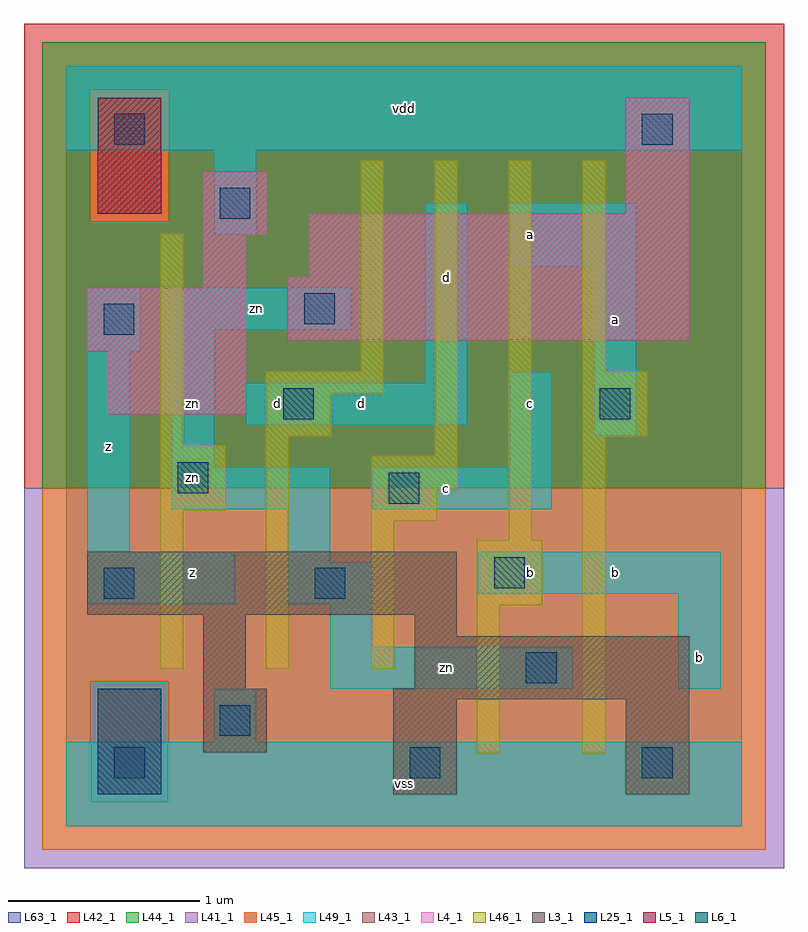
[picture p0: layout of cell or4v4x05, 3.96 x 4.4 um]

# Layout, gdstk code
import gdstk
lib = gdstk.Library(unit=1e-6, precision=1e-09)
def R(c, l, rs):  # rectangles x0, y0, x1, y1
    for r in rs: c.add(gdstk.rectangle(r[:2], r[2:], *l))
L3_1 = (3, 1)
L4_1 = (4, 1)
L5_1 = (5, 1)
L6_1 = (6, 1)
L25_1 = (25, 1)
L41_1 = (41, 1)
L42_1 = (42, 1)
L43_1 = (43, 1)
L44_1 = (44, 1)
L45_1 = (45, 1)
L46_1 = (46, 1)
L49_1 = (49, 1)
L63_1 = (63, 1)

or4v4x05 = lib.new_cell('or4v4x05')
R(or4v4x05, L3_1, [(1.705,0.165,2.035,0.66), (2.915,0.165,3.245,0.66), (0.715,0.385,1.045,0.715), (1.705,0.66,3.245,0.715), (0.715,0.715,0.935,1.1), (1.815,0.715,3.245,0.99), (1.815,0.99,2.035,1.1), (0.11,1.1,2.035,1.43)])
R(or4v4x05, L4_1, [(0.22,2.145,0.935,2.475), (0.11,2.475,0.935,2.805), (1.155,2.53,3.245,2.86), (0.715,2.805,0.935,3.08), (1.265,2.86,3.245,3.19), (0.715,3.08,1.045,3.41), (2.915,3.19,3.245,3.795)])
R(or4v4x05, L5_1, [(0.165,3.19,0.495,3.795)])
R(or4v4x05, L6_1, [(0.165,0.165,0.495,0.715)])
R(or4v4x05, L25_1, [(0.25,0.25,0.41,0.41), (1.79,0.25,1.95,0.41), (3,0.25,3.16,0.41), (0.8,0.47,0.96,0.63), (2.395,0.745,2.555,0.905), (0.195,1.185,0.355,1.345), (1.295,1.185,1.455,1.345), (2.23,1.24,2.39,1.4), (1.68,1.68,1.84,1.84), (0.58,1.735,0.74,1.895), (1.13,2.12,1.29,2.28), (2.78,2.12,2.94,2.28), (0.195,2.56,0.355,2.72), (1.24,2.615,1.4,2.775), (0.8,3.165,0.96,3.325), (0.25,3.55,0.41,3.71), (3,3.55,3.16,3.71)])
R(or4v4x05, L41_1, [(-0.22,-0.22,3.74,1.76)])
R(or4v4x05, L42_1, [(-0.22,1.76,3.74,4.18)])
R(or4v4x05, L43_1, [(0.165,0.165,0.495,0.715), (1.705,0.165,2.035,0.66), (2.915,0.165,3.245,0.66), (0.715,0.385,1.045,0.715), (1.705,0.66,3.245,0.715), (0.715,0.715,0.935,1.1), (1.815,0.715,3.245,0.99), (1.815,0.99,2.035,1.1), (0.11,1.1,2.035,1.43), (0.22,2.145,0.935,2.475), (0.11,2.475,0.935,2.805), (1.155,2.53,3.245,2.86), (0.715,2.805,0.935,3.08), (1.265,2.86,3.245,3.19), (0.715,3.08,1.045,3.41), (0.165,3.19,0.495,3.795), (2.915,3.19,3.245,3.795)])
R(or4v4x05, L44_1, [(0.125,0.125,0.535,0.755), (-0.125,1.76,3.645,3.15), (-0.125,3.15,0.125,3.835), (0.535,3.15,3.645,3.835), (-0.125,3.835,3.645,4.085)])
R(or4v4x05, L45_1, [(-0.125,-0.125,3.645,0.125), (-0.125,0.125,0.125,0.755), (0.535,0.125,3.645,0.755), (-0.125,0.755,3.645,1.76), (0.125,3.15,0.535,3.835)])
R(or4v4x05, L46_1, [(2.14,0.38,2.26,1.15), (2.69,0.38,2.81,2.03), (0.49,0.82,0.61,1.645), (1.04,0.82,1.16,2.03), (1.59,0.82,1.71,1.59), (2.14,1.15,2.48,1.49), (2.305,1.49,2.425,3.47), (1.59,1.59,1.93,1.755), (0.49,1.645,0.83,1.985), (1.59,1.755,2.04,1.93), (1.92,1.93,2.04,3.47), (0.49,1.985,0.61,3.085), (1.04,2.03,1.38,2.25), (2.69,2.03,3.03,2.37), (1.04,2.25,1.655,2.37), (1.535,2.37,1.655,3.47), (2.69,2.37,2.81,3.47)])
R(or4v4x05, L49_1, [(0,0,3.52,0.44), (0.77,0.44,0.99,0.715), (1.375,0.715,2.64,0.935), (3.19,0.715,3.41,1.21), (1.375,0.935,1.595,1.155), (0.11,1.155,0.88,1.43), (1.155,1.155,1.595,1.375), (2.145,1.21,3.41,1.43), (1.155,1.375,1.375,1.65), (0.11,1.43,0.33,2.475), (0.55,1.65,1.375,1.87), (1.595,1.65,2.53,1.87), (0.55,1.87,0.77,2.585), (2.31,1.87,2.53,2.365), (2.75,2.035,2.97,2.915), (0.935,2.09,2.09,2.31), (1.87,2.31,2.09,3.245), (0.11,2.475,0.385,2.805), (0.55,2.585,1.485,2.805), (2.31,2.915,2.97,3.245), (0.77,3.08,0.99,3.52), (0,3.52,3.52,3.96)])
R(or4v4x05, L63_1, [(0,0,3.52,3.96)])
or4v4x05.add(gdstk.Label('zn', (0.66,1.815), layer=49, texttype=1))
or4v4x05.add(gdstk.Label('z', (0.66,1.32), layer=49, texttype=1))
or4v4x05.add(gdstk.Label('z', (0.22,1.98), layer=49, texttype=1))
or4v4x05.add(gdstk.Label('zn', (0.66,2.2), layer=49, texttype=1))
or4v4x05.add(gdstk.Label('d', (1.1,2.2), layer=49, texttype=1))
or4v4x05.add(gdstk.Label('d', (1.54,2.2), layer=49, texttype=1))
or4v4x05.add(gdstk.Label('zn', (0.99,2.695), layer=49, texttype=1))
or4v4x05.add(gdstk.Label('vss', (1.76,0.22), layer=49, texttype=1))
or4v4x05.add(gdstk.Label('zn', (1.98,0.825), layer=49, texttype=1))
or4v4x05.add(gdstk.Label('c', (1.98,1.76), layer=49, texttype=1))
or4v4x05.add(gdstk.Label('b', (2.42,1.32), layer=49, texttype=1))
or4v4x05.add(gdstk.Label('c', (2.42,2.2), layer=49, texttype=1))
or4v4x05.add(gdstk.Label('d', (1.98,2.86), layer=49, texttype=1))
or4v4x05.add(gdstk.Label('a', (2.42,3.08), layer=49, texttype=1))
or4v4x05.add(gdstk.Label('vdd', (1.76,3.74), layer=49, texttype=1))
or4v4x05.add(gdstk.Label('b', (3.3,0.88), layer=49, texttype=1))
or4v4x05.add(gdstk.Label('b', (2.86,1.32), layer=49, texttype=1))
or4v4x05.add(gdstk.Label('a', (2.86,2.64), layer=49, texttype=1))

lib.write_gds('or4v4x05.gds')
